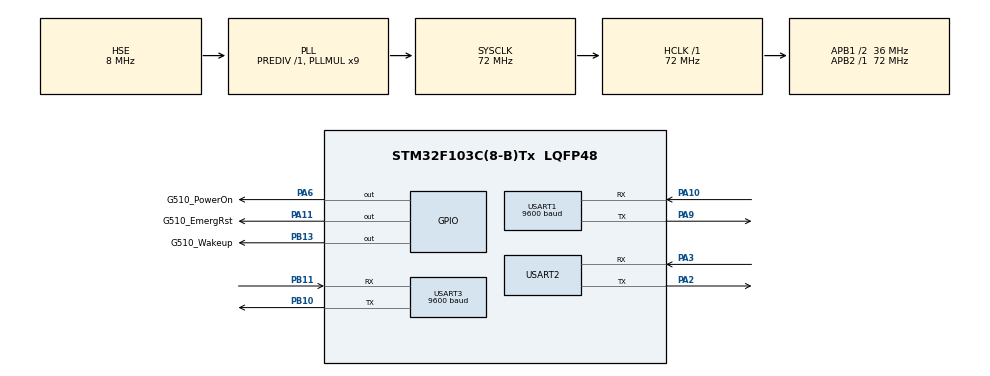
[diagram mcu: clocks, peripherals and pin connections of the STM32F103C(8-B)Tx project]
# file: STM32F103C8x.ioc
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Mcu.Family=STM32F1
Mcu.Name=STM32F103C(8-B)Tx
Mcu.Package=LQFP48
NVIC.PriorityGroup=NVIC_PRIORITYGROUP_2
NVIC.TIM2_IRQn=true\:1\:0\:true\:true\:true\:1\:true
NVIC.USART1_IRQn=true\:0\:0\:false\:true\:true\:2\:true
NVIC.USART3_IRQn=true\:0\:0\:false\:true\:true\:3\:true
PA10.Mode=Asynchronous
PA10.Signal=USART1_RX
PA11.GPIO_Label=G510_EmergRst
PA11.PinState=GPIO_PIN_SET
PA11.Signal=GPIO_Output
PA13.Mode=Serial_Wire
PA13.Signal=SYS_JTMS-SWDIO
PA14.Mode=Serial_Wire
PA14.Signal=SYS_JTCK-SWCLK
PA2.Mode=Asynchronous
PA2.Signal=USART2_TX
PA3.Mode=Asynchronous
PA3.Signal=USART2_RX
PA6.GPIO_Label=G510_PowerOn
PA6.GPIO_ModeDefaultOutputPP=GPIO_MODE_OUTPUT_PP
PA6.GPIO_Speed=GPIO_SPEED_FREQ_LOW
PA6.PinState=GPIO_PIN_RESET
PA6.Signal=GPIO_Output
PA9.Mode=Asynchronous
PA9.Signal=USART1_TX
PB10.Mode=Asynchronous
PB10.Signal=USART3_TX
PB11.Mode=Asynchronous
PB11.Signal=USART3_RX
PB13.GPIO_Label=G510_Wakeup
PB13.GPIO_Speed=GPIO_SPEED_FREQ_LOW
PB13.PinState=GPIO_PIN_SET
PB13.Signal=GPIO_Output
PD0-OSC_IN.Mode=HSE-External-Oscillator
PD0-OSC_IN.Signal=RCC_OSC_IN
PD1-OSC_OUT.Mode=HSE-External-Oscillator
PD1-OSC_OUT.Signal=RCC_OSC_OUT
ProjectManager.HeapSize=0x800
ProjectManager.StackSize=0x2000
ProjectManager.TargetToolchain=MDK-ARM V5
RCC.AHBFreq_Value=72000000
RCC.APB1CLKDivider=RCC_HCLK_DIV2
RCC.APB1Freq_Value=36000000
RCC.APB1TimFreq_Value=72000000
RCC.APB2Freq_Value=72000000
RCC.APB2TimFreq_Value=72000000
RCC.HCLKFreq_Value=72000000
RCC.PLLMUL=RCC_PLL_MUL9
RCC.PLLSourceVirtual=RCC_PLLSOURCE_HSE
RCC.SYSCLKFreq_VALUE=72000000
RCC.SYSCLKSource=RCC_SYSCLKSOURCE_PLLCLK
RCC.USBFreq_Value=72000000
TIM2.Period=10-1
TIM2.Prescaler=7200-1
USART1.BaudRate=9600
USART1.VirtualMode=VM_ASYNC
USART2.VirtualMode=VM_ASYNC
USART3.BaudRate=9600
USART3.VirtualMode=VM_ASYNC
VP_TIM2_VS_ClockSourceINT.Mode=Internal
board=STM32F103C8x

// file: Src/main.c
/**
  ******************************************************************************
  * @file           : main.c
  * @brief          : Main program body
  ******************************************************************************
  ** This notice applies to any and all portions of this file
  * that are not between comment pairs USER CODE BEGIN and
  * USER CODE END. Other portions of this file, whether
  * inserted by the user or by software development tools
  * are owned by their respective copyright owners.
  *
  * COPYRIGHT(c) 2018 STMicroelectronics
  *
  * Redistribution and use in source and binary forms, with or without modification,
  * are permitted provided that the following conditions are met:
  *   1. Redistributions of source code must retain the above copyright notice,
  *      this list of conditions and the following disclaimer.
  *   2. Redistributions in binary form must reproduce the above copyright notice,
  *      this list of conditions and the following disclaimer in the documentation
  *      and/or other materials provided with the distribution.
  *   3. Neither the name of STMicroelectronics nor the names of its contributors
  *      may be used to endorse or promote products derived from this software
  *      without specific prior written permission.
  *
  * THIS SOFTWARE IS PROVIDED BY THE COPYRIGHT HOLDERS AND CONTRIBUTORS "AS IS"
  * AND ANY EXPRESS OR IMPLIED WARRANTIES, INCLUDING, BUT NOT LIMITED TO, THE
  * IMPLIED WARRANTIES OF MERCHANTABILITY AND FITNESS FOR A PARTICULAR PURPOSE ARE
  * DISCLAIMED. IN NO EVENT SHALL THE COPYRIGHT HOLDER OR CONTRIBUTORS BE LIABLE
  * FOR ANY DIRECT, INDIRECT, INCIDENTAL, SPECIAL, EXEMPLARY, OR CONSEQUENTIAL
  * DAMAGES (INCLUDING, BUT NOT LIMITED TO, PROCUREMENT OF SUBSTITUTE GOODS OR
  * SERVICES; LOSS OF USE, DATA, OR PROFITS; OR BUSINESS INTERRUPTION) HOWEVER
  * CAUSED AND ON ANY THEORY OF LIABILITY, WHETHER IN CONTRACT, STRICT LIABILITY,
  * OR TORT (INCLUDING NEGLIGENCE OR OTHERWISE) ARISING IN ANY WAY OUT OF THE USE
  * OF THIS SOFTWARE, EVEN IF ADVISED OF THE POSSIBILITY OF SUCH DAMAGE.
  *
  ******************************************************************************
  */
#include "main.h"
#include "stm32f1xx_hal.h"

/* USER CODE BEGIN Includes */
#include "hal_key.h"
#include "gizwits_product.h"
#include "common.h"
#include "TissueMachine.h"
/* USER CODE END Includes */

TIM_HandleTypeDef htim2;

UART_HandleTypeDef huart1;
UART_HandleTypeDef huart2;
UART_HandleTypeDef huart3;

/* USER CODE BEGIN PV */
/* Private variables ---------------------------------------------------------*/
#define GPIO_KEY_NUM 2 ///< Defines the total number of key member
keyTypedef_t singleKey[GPIO_KEY_NUM]; ///< Defines a single key member array pointer
keysTypedef_t keys;
/* USER CODE END PV */

void SystemClock_Config(void);
static void MX_GPIO_Init(void);
static void MX_TIM2_Init(void);
static void MX_USART1_UART_Init(void);
static void MX_USART2_UART_Init(void);
static void MX_USART3_UART_Init(void);
static void MX_NVIC_Init(void);

/* USER CODE BEGIN PFP */
/* Private function prototypes -----------------------------------------------*/

/* USER CODE END PFP */

/* USER CODE BEGIN 0 */

/**
* G510 power on
* @param none
* @return none
*/
void G510_PowerOn(void)
{
	//HAL_GPIO_WritePin(G510_EmergRst_GPIO_Port, G510_EmergRst_Pin, 1);
	GIZWITS_LOG("Power On G510 Start\r\n");
	HAL_GPIO_WritePin(G510_PowerOn_GPIO_Port, G510_PowerOn_Pin, 0);
	HAL_Delay(1000);
	HAL_GPIO_WritePin(G510_PowerOn_GPIO_Port, G510_PowerOn_Pin, 1);
	GIZWITS_LOG("Power On G510 End\r\n");
}

/* USER CODE END 0 */

int main(void)
{

  /* MCU Configuration----------------------------------------------------------*/

  /* Reset of all peripherals, Initializes the Flash interface and the Systick. */
  HAL_Init();

  /* Configure the system clock */
  SystemClock_Config();

  /* Initialize all configured peripherals */
  MX_GPIO_Init();
  MX_TIM2_Init();
  MX_USART1_UART_Init();
  MX_USART2_UART_Init();
  MX_USART3_UART_Init();

  /* Initialize interrupts */
  MX_NVIC_Init();
  /* USER CODE BEGIN 2 */
	G510_PowerOn();
	timerInit();
	uartInit();
	uart3Init();

	userInit();
	gizwitsInit();
	GIZWITS_LOG("MCU Init Success \r\n");
  /* USER CODE END 2 */

  /* Infinite loop */
  while (1)
  {

  /* USER CODE BEGIN 3 */
	  userHandle();
	  gizwitsHandle((dataPoint_t *)&currentDataPoint);
  }
  /* USER CODE END 3 */

}

void SystemClock_Config(void)
{

  RCC_OscInitTypeDef RCC_OscInitStruct;
  RCC_ClkInitTypeDef RCC_ClkInitStruct;

    /**Initializes the CPU, AHB and APB busses clocks
    */
  RCC_OscInitStruct.OscillatorType = RCC_OSCILLATORTYPE_HSE;
  RCC_OscInitStruct.HSEState = RCC_HSE_ON;
  RCC_OscInitStruct.HSEPredivValue = RCC_HSE_PREDIV_DIV1;
  RCC_OscInitStruct.HSIState = RCC_HSI_ON;
  RCC_OscInitStruct.PLL.PLLState = RCC_PLL_ON;
  RCC_OscInitStruct.PLL.PLLSource = RCC_PLLSOURCE_HSE;
  RCC_OscInitStruct.PLL.PLLMUL = RCC_PLL_MUL9;
  if (HAL_RCC_OscConfig(&RCC_OscInitStruct) != HAL_OK)
  {
    _Error_Handler(__FILE__, __LINE__);
  }

    /**Initializes the CPU, AHB and APB busses clocks
    */
  RCC_ClkInitStruct.ClockType = RCC_CLOCKTYPE_HCLK|RCC_CLOCKTYPE_SYSCLK
                              |RCC_CLOCKTYPE_PCLK1|RCC_CLOCKTYPE_PCLK2;
  RCC_ClkInitStruct.SYSCLKSource = RCC_SYSCLKSOURCE_PLLCLK;
  RCC_ClkInitStruct.AHBCLKDivider = RCC_SYSCLK_DIV1;
  RCC_ClkInitStruct.APB1CLKDivider = RCC_HCLK_DIV2;
  RCC_ClkInitStruct.APB2CLKDivider = RCC_HCLK_DIV1;

  if (HAL_RCC_ClockConfig(&RCC_ClkInitStruct, FLASH_LATENCY_2) != HAL_OK)
  {
    _Error_Handler(__FILE__, __LINE__);
  }

    /**Configure the Systick interrupt time
    */
  HAL_SYSTICK_Config(HAL_RCC_GetHCLKFreq()/1000);

    /**Configure the Systick
    */
  HAL_SYSTICK_CLKSourceConfig(SYSTICK_CLKSOURCE_HCLK);

  /* SysTick_IRQn interrupt configuration */
  HAL_NVIC_SetPriority(SysTick_IRQn, 0, 0);
}

/**
  * @brief NVIC Configuration.
  * @retval None
  */
static void MX_NVIC_Init(void)
{
  /* TIM2_IRQn interrupt configuration */
  HAL_NVIC_SetPriority(TIM2_IRQn, 1, 0);
  HAL_NVIC_EnableIRQ(TIM2_IRQn);
  /* USART1_IRQn interrupt configuration */
  HAL_NVIC_SetPriority(USART1_IRQn, 0, 0);
  HAL_NVIC_EnableIRQ(USART1_IRQn);
  /* USART3_IRQn interrupt configuration */
  HAL_NVIC_SetPriority(USART3_IRQn, 0, 0);
  HAL_NVIC_EnableIRQ(USART3_IRQn);
}

/* TIM2 init function */
static void MX_TIM2_Init(void)
{

  TIM_ClockConfigTypeDef sClockSourceConfig;
  TIM_MasterConfigTypeDef sMasterConfig;

  htim2.Instance = TIM2;
  htim2.Init.Prescaler = 7200-1;
  htim2.Init.CounterMode = TIM_COUNTERMODE_UP;
  htim2.Init.Period = 10-1;
  htim2.Init.ClockDivision = TIM_CLOCKDIVISION_DIV1;
  htim2.Init.AutoReloadPreload = TIM_AUTORELOAD_PRELOAD_DISABLE;
  if (HAL_TIM_Base_Init(&htim2) != HAL_OK)
  {
    _Error_Handler(__FILE__, __LINE__);
  }

  sClockSourceConfig.ClockSource = TIM_CLOCKSOURCE_INTERNAL;
  if (HAL_TIM_ConfigClockSource(&htim2, &sClockSourceConfig) != HAL_OK)
  {
    _Error_Handler(__FILE__, __LINE__);
  }

  sMasterConfig.MasterOutputTrigger = TIM_TRGO_RESET;
  sMasterConfig.MasterSlaveMode = TIM_MASTERSLAVEMODE_DISABLE;
  if (HAL_TIMEx_MasterConfigSynchronization(&htim2, &sMasterConfig) != HAL_OK)
  {
    _Error_Handler(__FILE__, __LINE__);
  }

}

/* USART1 init function */
static void MX_USART1_UART_Init(void)
{

  huart1.Instance = USART1;
  huart1.Init.BaudRate = 9600;
  huart1.Init.WordLength = UART_WORDLENGTH_8B;
  huart1.Init.StopBits = UART_STOPBITS_1;
  huart1.Init.Parity = UART_PARITY_NONE;
  huart1.Init.Mode = UART_MODE_TX_RX;
  huart1.Init.HwFlowCtl = UART_HWCONTROL_NONE;
  huart1.Init.OverSampling = UART_OVERSAMPLING_16;
  if (HAL_UART_Init(&huart1) != HAL_OK)
  {
    _Error_Handler(__FILE__, __LINE__);
  }

}

/* USART2 init function */
static void MX_USART2_UART_Init(void)
{

  huart2.Instance = USART2;
  huart2.Init.BaudRate = 115200;
  huart2.Init.WordLength = UART_WORDLENGTH_8B;
  huart2.Init.StopBits = UART_STOPBITS_1;
  huart2.Init.Parity = UART_PARITY_NONE;
  huart2.Init.Mode = UART_MODE_TX_RX;
  huart2.Init.HwFlowCtl = UART_HWCONTROL_NONE;
  huart2.Init.OverSampling = UART_OVERSAMPLING_16;
  if (HAL_UART_Init(&huart2) != HAL_OK)
  {
    _Error_Handler(__FILE__, __LINE__);
  }

}

/* USART3 init function */
static void MX_USART3_UART_Init(void)
{

  huart3.Instance = USART3;
  huart3.Init.BaudRate = 9600;
  huart3.Init.WordLength = UART_WORDLENGTH_8B;
  huart3.Init.StopBits = UART_STOPBITS_1;
  huart3.Init.Parity = UART_PARITY_NONE;
  huart3.Init.Mode = UART_MODE_TX_RX;
  huart3.Init.HwFlowCtl = UART_HWCONTROL_NONE;
  huart3.Init.OverSampling = UART_OVERSAMPLING_16;
  if (HAL_UART_Init(&huart3) != HAL_OK)
  {
    _Error_Handler(__FILE__, __LINE__);
  }

}

/** Configure pins as
        * Analog
        * Input
        * Output
        * EVENT_OUT
        * EXTI
*/
static void MX_GPIO_Init(void)
{

  GPIO_InitTypeDef GPIO_InitStruct;

  /* GPIO Ports Clock Enable */
  __HAL_RCC_GPIOD_CLK_ENABLE();
  __HAL_RCC_GPIOA_CLK_ENABLE();
  __HAL_RCC_GPIOB_CLK_ENABLE();

  /*Configure GPIO pin Output Level */
  HAL_GPIO_WritePin(G510_PowerOn_GPIO_Port, G510_PowerOn_Pin, GPIO_PIN_RESET);

  /*Configure GPIO pin Output Level */
  HAL_GPIO_WritePin(G510_Wakeup_GPIO_Port, G510_Wakeup_Pin, GPIO_PIN_SET);

  /*Configure GPIO pin Output Level */
  HAL_GPIO_WritePin(G510_EmergRst_GPIO_Port, G510_EmergRst_Pin, GPIO_PIN_SET);

  /*Configure GPIO pins : G510_PowerOn_Pin G510_EmergRst_Pin */
  GPIO_InitStruct.Pin = G510_PowerOn_Pin|G510_EmergRst_Pin;
  GPIO_InitStruct.Mode = GPIO_MODE_OUTPUT_PP;
  GPIO_InitStruct.Speed = GPIO_SPEED_FREQ_LOW;
  HAL_GPIO_Init(GPIOA, &GPIO_InitStruct);

  /*Configure GPIO pin : G510_Wakeup_Pin */
  GPIO_InitStruct.Pin = G510_Wakeup_Pin;
  GPIO_InitStruct.Mode = GPIO_MODE_OUTPUT_PP;
  GPIO_InitStruct.Speed = GPIO_SPEED_FREQ_LOW;
  HAL_GPIO_Init(G510_Wakeup_GPIO_Port, &GPIO_InitStruct);

}

void _Error_Handler(char *file, int line)
{
  while(1)
  {
  }
}

/************************ (C) COPYRIGHT STMicroelectronics *****END OF FILE****/
